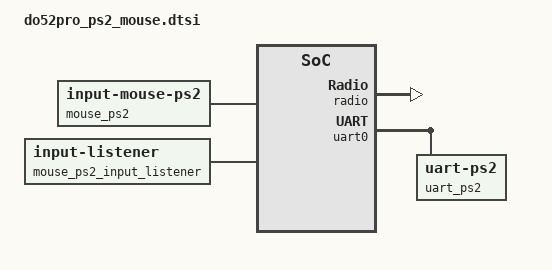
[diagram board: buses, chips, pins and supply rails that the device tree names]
/*
 * PS/2 Mouse / Trackpoint support for the do52pro -- MAINLINE ZMK / Zephyr 4.1
 *
 * Driver: https://github.com/infused-kim/kb_zmk_ps2_mouse_trackpoint_driver
 * (built locally as an extra Zephyr module; see scripts/zmk.py --extra-module)
 *
 * Difference from the legacy (Zephyr 3.5) wiring: the driver's bundled
 * `zmk,input-listener-ps2` listener targeted the old mouse-PR HID API that no
 * longer exists on zmkfirmware/main. The PS/2 driver itself already emits
 * standard Zephyr input events (input_report_rel / input_report_key), so on
 * mainline we drop the bundled listener and use the STOCK `zmk,input-listener`.
 * Axis orientation moves from the old listener's `xy-swap` onto the trackpoint
 * device node's `tp-xy-swap` (hardware-level, acceleration-aware).
 *
 * The RIGHT half is the BLE split central; the PS/2 driver only runs on the
 * central, so the trackpoint MUST be wired to the RIGHT controller.
 *
 * Pins (nice!nano "pro_micro" numbering), wired to the right controller:
 *   SCL (clock) : D15  (P1.13)
 *   SDA (data)  : D16  (P0.10 -> NRF_PSEL(UART_RX, 0, 10))
 *
 * No hardware reset pin is wired; the driver resets the trackpoint via the PS/2
 * software reset command at boot.
 */

#define MOUSE_PS2_DRIVER_UART

#define MOUSE_PS2_PIN_SCL_PRO_MICRO <&pro_micro 15 GPIO_ACTIVE_HIGH>
#define MOUSE_PS2_PIN_SDA_PRO_MICRO <&pro_micro 16 GPIO_ACTIVE_HIGH>

// SDA in pinctrl notation. Must match SDA above. D16 == P0.10 -> 0, 10
#define MOUSE_PS2_PIN_SDA_PINCTRL <NRF_PSEL(UART_RX, 0, 10)>

#define MOUSE_PS2_UART_BAUD_RATE <14400>

// Unexposed nRF52840 UART pins (UART needs two pins; PS/2 only uses one).
// Do NOT change these on a nice!nano v2 / clone.
#define MOUSE_PS2_PIN_UNEXPOSED_TX <NRF_PSEL(UART_TX, 0, 27)>
#define MOUSE_PS2_PIN_UNEXPOSED_RX <NRF_PSEL(UART_RX, 0, 28)>


/*
 * Interrupt priority overrides for the nice!nano v2 (nRF52840).
 *
 * PS/2 events must be serviced within ~30-50us. We give GPIOTE the highest
 * priority and demote everything else so PS/2 transmissions are reliable.
 * Generated for nice_nano_v2 by the driver's
 * scripts/gen_interrupt_priority_overrides.py.
 */
&gpiote { interrupts = < 6 0 >; };
&clock { interrupts = < 0 3 >; };
&power { interrupts = < 0 3 >; };
&radio { interrupts = < 1 3 >; };
&uart0 { interrupts = < 2 3 >; };
&i2c0 { interrupts = < 3 3 >; };
&spi0 { interrupts = < 3 3 >; };
&i2c1 { interrupts = < 4 3 >; };
&spi1 { interrupts = < 4 3 >; };
&nfct { interrupts = < 5 3 >; };
&adc { interrupts = < 7 3 >; };
&timer0 { interrupts = < 8 3 >; };
&timer1 { interrupts = < 9 3 >; };
&timer2 { interrupts = < 10 3 >; };
&rtc0 { interrupts = < 11 3 >; };
&temp { interrupts = < 12 3 >; };
&rng { interrupts = < 13 3 >; };
&ecb { interrupts = < 14 3 >; };
&ccm { interrupts = < 15 3 >; };
&wdt { interrupts = < 16 3 >; };
&rtc1 { interrupts = < 17 3 >; };
&qdec { interrupts = < 18 3 >; };
&comp { interrupts = < 19 3 >; };
&egu0 { interrupts = < 20 3 >; };
&egu1 { interrupts = < 21 3 >; };
&egu2 { interrupts = < 22 3 >; };
&egu3 { interrupts = < 23 3 >; };
&egu4 { interrupts = < 24 3 >; };
&egu5 { interrupts = < 25 3 >; };
&timer3 { interrupts = < 26 3 >; };
&timer4 { interrupts = < 27 3 >; };
&pwm0 { interrupts = < 28 3 >; };
&pdm0 { interrupts = < 29 3 >; };
&pwm1 { interrupts = < 33 3 >; };
&pwm2 { interrupts = < 34 3 >; };
&spi2 { interrupts = < 35 3 >; };
&rtc2 { interrupts = < 36 3 >; };
&i2s0 { interrupts = < 37 3 >; };
&usbd { interrupts = < 39 3 >; };
&uart1 { interrupts = < 40 3 >; };
&qspi { interrupts = < 41 3 >; };
&pwm3 { interrupts = < 45 3 >; };
&spi3 { interrupts = < 47 3 >; };
&cryptocell { interrupts = < 42 3 >; };


/*
 * PS/2 device tree nodes.
 */
&pinctrl {
	uart0_ps2_default: uart0_ps2_default {
		group1 {
			psels = MOUSE_PS2_PIN_UNEXPOSED_TX,
					MOUSE_PS2_PIN_SDA_PINCTRL;
		};
	};

	uart0_ps2_sleep: uart0_ps2_sleep {
		group1 {
			psels = MOUSE_PS2_PIN_UNEXPOSED_TX,
					MOUSE_PS2_PIN_SDA_PINCTRL;
			low-power-enable;
		};
	};

	uart0_ps2_off: uart0_ps2_off {
		group1 {
			psels = MOUSE_PS2_PIN_UNEXPOSED_TX,
					MOUSE_PS2_PIN_UNEXPOSED_RX;
		};
	};
};

&uart0 {
	status = "okay";
	compatible = "nordic,nrf-uarte";

	current-speed = MOUSE_PS2_UART_BAUD_RATE;
	pinctrl-0 = <&uart0_ps2_default>;
	pinctrl-1 = <&uart0_ps2_off>;
	pinctrl-names = "default", "sleep";

	uart_ps2: uart_ps2 {
		status = "okay";
		compatible = "uart-ps2";
		scl-gpios = MOUSE_PS2_PIN_SCL_PRO_MICRO;
		sda-gpios = MOUSE_PS2_PIN_SDA_PRO_MICRO;
	};
};

/ {
	mouse_ps2: mouse_ps2 {
		status = "okay";
		compatible = "zmk,input-mouse-ps2";
		ps2-device = <&uart_ps2>;

		// Trackpoint is mounted rotated 90deg -> swap axes at the device.
		// (Legacy did this on the listener; mainline's stock listener has no
		// xy-swap, so we use the driver's hardware-level swap instead.)
		tp-xy-swap;
		// Uncomment to flip a direction if the cursor moves the wrong way:
		// tp-x-invert;
		// tp-y-invert;
	};

	// STOCK mainline input listener (NOT the driver's bundled -ps2 variant).
	// Consumes the input_report_rel/key events the PS/2 driver emits.
	mouse_ps2_input_listener: mouse_ps2_input_listener {
		compatible = "zmk,input-listener";
		device = <&mouse_ps2>;
	};
};
